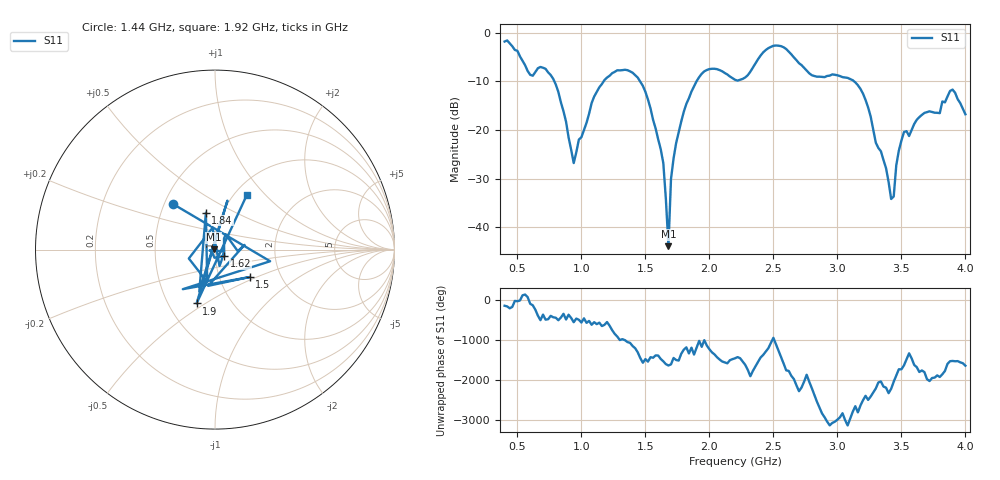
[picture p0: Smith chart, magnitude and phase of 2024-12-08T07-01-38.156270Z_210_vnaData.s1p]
!Created with skrf (http://scikit-rf.org).
# Hz S RI R 50.0
!freq ReS11 ImS11
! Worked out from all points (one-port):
!   181 points, 400 MHz to 4 GHz, reference 50 ohm
!   lowest |S11| = -43.9 dB at 1.68 GHz (marker M1), VSWR 1.01, Z = 49.4 + j0.202 ohm
!   |S11| at or under -10 dB: 788.5 MHz to 1.174 GHz (385.2 MHz wide, 39.3 % of centre); 1.459 GHz to 1.899 GHz (440.9 MHz wide, 26.3 % of centre); 3.13 GHz to end of sweep
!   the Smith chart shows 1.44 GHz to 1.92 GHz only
!   S11 on the Smith chart (normalised r, x): 1.44 GHz: 0.55, +0.32; 1.5 GHz: 1.40, -0.45; 1.62 GHz: 1.10, -0.08; 1.84 GHz: 0.83, +0.36; 1.9 GHz: 0.69, -0.46; 1.92 GHz: 1.14, +0.78
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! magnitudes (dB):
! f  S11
! 400 MHz  -1.8
! 600 MHz  -8.7
! 720 MHz  -7.4
! 860 MHz  -16.1
! 940 MHz  -26.8
! 1.1 GHz  -13.1
! 1.3 GHz  -7.7
! 1.44 GHz  -9.2
! 1.5 GHz  -12.2
! 1.62 GHz  -24.0
! 1.64 GHz  -26.8
! 1.68 GHz  -43.9
! 1.7 GHz  -30.1
! 1.76 GHz  -20.5
! 1.84 GHz  -13.5
! 1.9 GHz  -10.0
! 1.92 GHz  -9.1
! 2.2 GHz  -9.7
! 2.5 GHz  -2.7
! 2.66 GHz  -5.1
! 3.1 GHz  -9.5
! 3.24 GHz  -15.4
! 3.42 GHz  -34.2
! 3.44 GHz  -33.7
! 3.5 GHz  -22.2
! 3.56 GHz  -21.2
! 3.9 GHz  -11.7
! 4 GHz  -16.8
